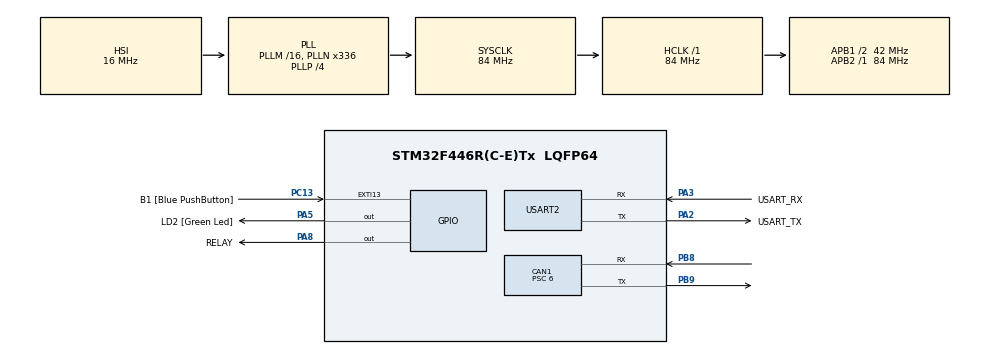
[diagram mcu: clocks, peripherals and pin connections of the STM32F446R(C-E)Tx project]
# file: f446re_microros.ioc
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CAN1.BS1=CAN_BS1_11TQ
CAN1.BS2=CAN_BS2_2TQ
CAN1.Prescaler=6
Dma.Request0=USART2_TX
Dma.Request1=USART2_RX
Dma.USART2_RX.1.Direction=DMA_PERIPH_TO_MEMORY
Dma.USART2_RX.1.FIFOMode=DMA_FIFOMODE_DISABLE
Dma.USART2_RX.1.Instance=DMA1_Stream5
Dma.USART2_RX.1.MemDataAlignment=DMA_MDATAALIGN_BYTE
Dma.USART2_RX.1.MemInc=DMA_MINC_ENABLE
Dma.USART2_RX.1.Mode=DMA_CIRCULAR
Dma.USART2_RX.1.PeriphDataAlignment=DMA_PDATAALIGN_BYTE
Dma.USART2_RX.1.PeriphInc=DMA_PINC_DISABLE
Dma.USART2_RX.1.Priority=DMA_PRIORITY_VERY_HIGH
Dma.USART2_TX.0.Direction=DMA_MEMORY_TO_PERIPH
Dma.USART2_TX.0.FIFOMode=DMA_FIFOMODE_DISABLE
Dma.USART2_TX.0.Instance=DMA1_Stream6
Dma.USART2_TX.0.MemDataAlignment=DMA_MDATAALIGN_BYTE
Dma.USART2_TX.0.MemInc=DMA_MINC_ENABLE
Dma.USART2_TX.0.Mode=DMA_NORMAL
Dma.USART2_TX.0.PeriphDataAlignment=DMA_PDATAALIGN_BYTE
Dma.USART2_TX.0.PeriphInc=DMA_PINC_DISABLE
Dma.USART2_TX.0.Priority=DMA_PRIORITY_VERY_HIGH
FREERTOS.Tasks01=microRosTask,24,3000,StartMicroRosTask,Default,NULL,Dynamic,NULL,NULL,motorTask,32,512,StartMotorTask,Default,NULL,Dynamic,NULL,NULL
Mcu.Family=STM32F4
Mcu.Name=STM32F446R(C-E)Tx
Mcu.Package=LQFP64
NVIC.CAN1_RX0_IRQn=true\:5\:0\:false\:false\:true\:true\:true\:true\:true
NVIC.DMA1_Stream5_IRQn=true\:5\:0\:false\:false\:true\:true\:false\:true\:true
NVIC.DMA1_Stream6_IRQn=true\:5\:0\:false\:false\:true\:true\:false\:true\:true
NVIC.PriorityGroup=NVIC_PRIORITYGROUP_4
NVIC.TIM1_UP_TIM10_IRQn=true\:0\:0\:false\:false\:true\:false\:false\:true\:true
NVIC.TimeBase=TIM1_UP_TIM10_IRQn
NVIC.TimeBaseIP=TIM1
NVIC.USART2_IRQn=true\:5\:0\:false\:false\:true\:true\:true\:true\:true
PA13.GPIO_Label=TMS
PA13.Mode=Serial_Wire
PA13.Signal=SYS_JTMS-SWDIO
PA14.GPIO_Label=TCK
PA14.Mode=Serial_Wire
PA14.Signal=SYS_JTCK-SWCLK
PA2.GPIO_Label=USART_TX
PA2.Mode=Asynchronous
PA2.Signal=USART2_TX
PA3.GPIO_Label=USART_RX
PA3.Mode=Asynchronous
PA3.Signal=USART2_RX
PA5.GPIO_Label=LD2 [Green Led]
PA5.Signal=GPIO_Output
PA8.GPIO_Label=RELAY
PA8.PinState=GPIO_PIN_SET
PA8.Signal=GPIO_Output
PB3.GPIO_Label=SWO
PB3.Signal=SYS_JTDO-SWO
PB8.Mode=CAN_Activate
PB8.Signal=CAN1_RX
PB9.Mode=CAN_Activate
PB9.Signal=CAN1_TX
PC13.GPIO_Label=B1 [Blue PushButton]
PC13.GPIO_ModeDefaultEXTI=GPIO_MODE_IT_FALLING
PC13.Signal=GPXTI13
PC14-OSC32_IN.Mode=LSE-External-Oscillator
PC14-OSC32_IN.Signal=RCC_OSC32_IN
PC15-OSC32_OUT.Mode=LSE-External-Oscillator
PC15-OSC32_OUT.Signal=RCC_OSC32_OUT
PH0-OSC_IN.Mode=HSE-External-Oscillator
PH0-OSC_IN.Signal=RCC_OSC_IN
PH1-OSC_OUT.Mode=HSE-External-Oscillator
PH1-OSC_OUT.Signal=RCC_OSC_OUT
ProjectManager.HeapSize=0x200
ProjectManager.StackSize=0x400
ProjectManager.TargetToolchain=STM32CubeIDE
RCC.48MHZClocksFreq_Value=84000000
RCC.AHBFreq_Value=84000000
RCC.APB1CLKDivider=RCC_HCLK_DIV2
RCC.APB1Freq_Value=42000000
RCC.APB1TimFreq_Value=84000000
RCC.APB2Freq_Value=84000000
RCC.APB2TimFreq_Value=84000000
RCC.CortexFreq_Value=84000000
RCC.FLatency-AdvancedSettings=FLASH_LATENCY_2
RCC.HCLKFreq_Value=84000000
RCC.HSE_VALUE=8000000
RCC.HSI_VALUE=16000000
RCC.PLLN=336
RCC.PLLP=RCC_PLLP_DIV4
RCC.SYSCLKFreq_VALUE=84000000
RCC.SYSCLKSource=RCC_SYSCLKSOURCE_PLLCLK
RCC.USBFreq_Value=168000000
RCC.VCOOutputFreq_Value=336000000
USART2.VirtualMode=VM_ASYNC
VP_FREERTOS_VS_CMSIS_V2.Mode=CMSIS_V2
VP_SYS_VS_tim1.Mode=TIM1
board=NUCLEO-F446RE

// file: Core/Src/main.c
/* USER CODE BEGIN Header */
/**
  ******************************************************************************
  * @file           : main.c
  * @brief          : Main program body
  ******************************************************************************
  * @attention
  *
  * Copyright (c) 2026 STMicroelectronics.
  * All rights reserved.
  *
  * This software is licensed under terms that can be found in the LICENSE file
  * in the root directory of this software component.
  * If no LICENSE file comes with this software, it is provided AS-IS.
  *
  ******************************************************************************
  */
/* USER CODE END Header */
#include "main.h"
#include "cmsis_os.h"

/* USER CODE BEGIN Includes */
#include "microros_app.h"
#include "motor_control.h"
#include "relay_control.h"
#include "vesc_can_telemetry.h"

/* USER CODE END Includes */

CAN_HandleTypeDef hcan1;
UART_HandleTypeDef huart2;
DMA_HandleTypeDef hdma_usart2_tx;
DMA_HandleTypeDef hdma_usart2_rx;

/* Definitions for microRosTask */
osThreadId_t microRosTaskHandle;
const osThreadAttr_t microRosTask_attributes = {
  .name = "microRosTask",
  .stack_size = 3000 * 4,
  .priority = (osPriority_t) osPriorityNormal,
};
/* Definitions for motorTask */
osThreadId_t motorTaskHandle;
const osThreadAttr_t motorTask_attributes = {
  .name = "motorTask",
  .stack_size = 512 * 4,
  .priority = (osPriority_t) osPriorityAboveNormal,
};

void SystemClock_Config(void);
static void MX_GPIO_Init(void);
static void MX_DMA_Init(void);
static void MX_CAN1_Init(void);
static void MX_USART2_UART_Init(void);
void StartMicroRosTask(void *argument);
void StartMotorTask(void *argument);

/* USER CODE BEGIN 0 */

static void CAN_Filter_Config(void)
{
  CAN_FilterTypeDef filter = {0};

  filter.FilterBank = 0;
  filter.FilterMode = CAN_FILTERMODE_IDMASK;
  filter.FilterScale = CAN_FILTERSCALE_32BIT;
  filter.FilterIdHigh = 0x0000;
  filter.FilterIdLow = 0x0000;
  filter.FilterMaskIdHigh = 0x0000;
  filter.FilterMaskIdLow = 0x0000;
  filter.FilterFIFOAssignment = CAN_RX_FIFO0;
  filter.FilterActivation = ENABLE;
  filter.SlaveStartFilterBank = 14;

  if (HAL_CAN_ConfigFilter(&hcan1, &filter) != HAL_OK)
  {
    Error_Handler();
  }
}

/* USER CODE END 0 */

int main(void)
{

  /* MCU Configuration--------------------------------------------------------*/

  /* Reset of all peripherals, Initializes the Flash interface and the Systick. */
  HAL_Init();

  /* Configure the system clock */
  SystemClock_Config();

  /* Initialize all configured peripherals */
  MX_GPIO_Init();
  MX_DMA_Init();
  MX_CAN1_Init();
  MX_USART2_UART_Init();
  /* USER CODE BEGIN 2 */

  CAN_Filter_Config();
  if (HAL_CAN_Start(&hcan1) != HAL_OK)
  {
    Error_Handler();
  }
  if (!vesc_can_telemetry_init(&hcan1))
  {
    Error_Handler();
  }
  relay_control_init();

  /* USER CODE END 2 */

  /* Init scheduler */
  osKernelInitialize();

  /* Create the thread(s) */
  /* creation of microRosTask */
  microRosTaskHandle = osThreadNew(StartMicroRosTask, NULL, &microRosTask_attributes);

  /* creation of motorTask */
  motorTaskHandle = osThreadNew(StartMotorTask, NULL, &motorTask_attributes);

  if ((microRosTaskHandle == NULL) || (motorTaskHandle == NULL))
  {
    Error_Handler();
  }

  /* Start scheduler */
  osKernelStart();

  /* We should never get here as control is now taken by the scheduler */
  /* Infinite loop */
  while (1)
  {

  }
}

void SystemClock_Config(void)
{
  RCC_OscInitTypeDef RCC_OscInitStruct = {0};
  RCC_ClkInitTypeDef RCC_ClkInitStruct = {0};

  /** Configure the main internal regulator output voltage
  */
  __HAL_RCC_PWR_CLK_ENABLE();
  __HAL_PWR_VOLTAGESCALING_CONFIG(PWR_REGULATOR_VOLTAGE_SCALE3);

  /** Initializes the RCC Oscillators according to the specified parameters
  * in the RCC_OscInitTypeDef structure.
  */
  RCC_OscInitStruct.OscillatorType = RCC_OSCILLATORTYPE_HSI;
  RCC_OscInitStruct.HSIState = RCC_HSI_ON;
  RCC_OscInitStruct.HSICalibrationValue = RCC_HSICALIBRATION_DEFAULT;
  RCC_OscInitStruct.PLL.PLLState = RCC_PLL_ON;
  RCC_OscInitStruct.PLL.PLLSource = RCC_PLLSOURCE_HSI;
  RCC_OscInitStruct.PLL.PLLM = 16;
  RCC_OscInitStruct.PLL.PLLN = 336;
  RCC_OscInitStruct.PLL.PLLP = RCC_PLLP_DIV4;
  RCC_OscInitStruct.PLL.PLLQ = 2;
  RCC_OscInitStruct.PLL.PLLR = 2;
  if (HAL_RCC_OscConfig(&RCC_OscInitStruct) != HAL_OK)
  {
    Error_Handler();
  }

  /** Initializes the CPU, AHB and APB buses clocks
  */
  RCC_ClkInitStruct.ClockType = RCC_CLOCKTYPE_HCLK|RCC_CLOCKTYPE_SYSCLK
                              |RCC_CLOCKTYPE_PCLK1|RCC_CLOCKTYPE_PCLK2;
  RCC_ClkInitStruct.SYSCLKSource = RCC_SYSCLKSOURCE_PLLCLK;
  RCC_ClkInitStruct.AHBCLKDivider = RCC_SYSCLK_DIV1;
  RCC_ClkInitStruct.APB1CLKDivider = RCC_HCLK_DIV2;
  RCC_ClkInitStruct.APB2CLKDivider = RCC_HCLK_DIV1;

  if (HAL_RCC_ClockConfig(&RCC_ClkInitStruct, FLASH_LATENCY_2) != HAL_OK)
  {
    Error_Handler();
  }
}

static void MX_CAN1_Init(void)
{
  hcan1.Instance = CAN1;
  hcan1.Init.Prescaler = 6;
  hcan1.Init.Mode = CAN_MODE_NORMAL;
  hcan1.Init.SyncJumpWidth = CAN_SJW_1TQ;
  hcan1.Init.TimeSeg1 = CAN_BS1_11TQ;
  hcan1.Init.TimeSeg2 = CAN_BS2_2TQ;
  hcan1.Init.TimeTriggeredMode = DISABLE;
  hcan1.Init.AutoBusOff = ENABLE;
  hcan1.Init.AutoWakeUp = DISABLE;
  hcan1.Init.AutoRetransmission = ENABLE;
  hcan1.Init.ReceiveFifoLocked = DISABLE;
  hcan1.Init.TransmitFifoPriority = DISABLE;
  if (HAL_CAN_Init(&hcan1) != HAL_OK)
  {
    Error_Handler();
  }
}

static void MX_USART2_UART_Init(void)
{

  huart2.Instance = USART2;
  huart2.Init.BaudRate = 115200;
  huart2.Init.WordLength = UART_WORDLENGTH_8B;
  huart2.Init.StopBits = UART_STOPBITS_1;
  huart2.Init.Parity = UART_PARITY_NONE;
  huart2.Init.Mode = UART_MODE_TX_RX;
  huart2.Init.HwFlowCtl = UART_HWCONTROL_NONE;
  huart2.Init.OverSampling = UART_OVERSAMPLING_16;
  if (HAL_UART_Init(&huart2) != HAL_OK)
  {
    Error_Handler();
  }

}

static void MX_DMA_Init(void)
{

  /* DMA controller clock enable */
  __HAL_RCC_DMA1_CLK_ENABLE();

  /* DMA interrupt init */
  /* DMA1_Stream5_IRQn interrupt configuration */
  HAL_NVIC_SetPriority(DMA1_Stream5_IRQn, 5, 0);
  HAL_NVIC_EnableIRQ(DMA1_Stream5_IRQn);
  /* DMA1_Stream6_IRQn interrupt configuration */
  HAL_NVIC_SetPriority(DMA1_Stream6_IRQn, 5, 0);
  HAL_NVIC_EnableIRQ(DMA1_Stream6_IRQn);

}

static void MX_GPIO_Init(void)
{
  GPIO_InitTypeDef GPIO_InitStruct = {0};

  /* GPIO Ports Clock Enable */
  __HAL_RCC_GPIOC_CLK_ENABLE();
  __HAL_RCC_GPIOH_CLK_ENABLE();
  __HAL_RCC_GPIOA_CLK_ENABLE();
  __HAL_RCC_GPIOB_CLK_ENABLE();

  /*Configure GPIO pin Output Level */
  HAL_GPIO_WritePin(LD2_GPIO_Port, LD2_Pin, GPIO_PIN_RESET);
  HAL_GPIO_WritePin(RELAY_GPIO_Port, RELAY_Pin, GPIO_PIN_SET);

  /*Configure GPIO pin : B1_Pin */
  GPIO_InitStruct.Pin = B1_Pin;
  GPIO_InitStruct.Mode = GPIO_MODE_IT_FALLING;
  GPIO_InitStruct.Pull = GPIO_NOPULL;
  HAL_GPIO_Init(B1_GPIO_Port, &GPIO_InitStruct);

  /*Configure GPIO pins : LD2_Pin RELAY_Pin */
  GPIO_InitStruct.Pin = LD2_Pin|RELAY_Pin;
  GPIO_InitStruct.Mode = GPIO_MODE_OUTPUT_PP;
  GPIO_InitStruct.Pull = GPIO_NOPULL;
  GPIO_InitStruct.Speed = GPIO_SPEED_FREQ_LOW;
  HAL_GPIO_Init(LD2_GPIO_Port, &GPIO_InitStruct);

}

void StartMicroRosTask(void *argument)
{
  /* USER CODE BEGIN 5 */
  (void)argument;
  microros_app_run();
  /* USER CODE END 5 */
}

/* USER CODE BEGIN Header_StartMotorTask */
/**
  * @brief Function implementing the 50 Hz VESC motor-control thread.
  * @param argument: Not used
  * @retval None
  */
/* USER CODE END Header_StartMotorTask */
void StartMotorTask(void *argument)
{
  (void)argument;
  motor_control_run();
}

void HAL_TIM_PeriodElapsedCallback(TIM_HandleTypeDef *htim)
{
  if (htim->Instance == TIM1) {
    HAL_IncTick();
  }
}

void Error_Handler(void)
{
  __disable_irq();
  while (1)
  {
  }
}
